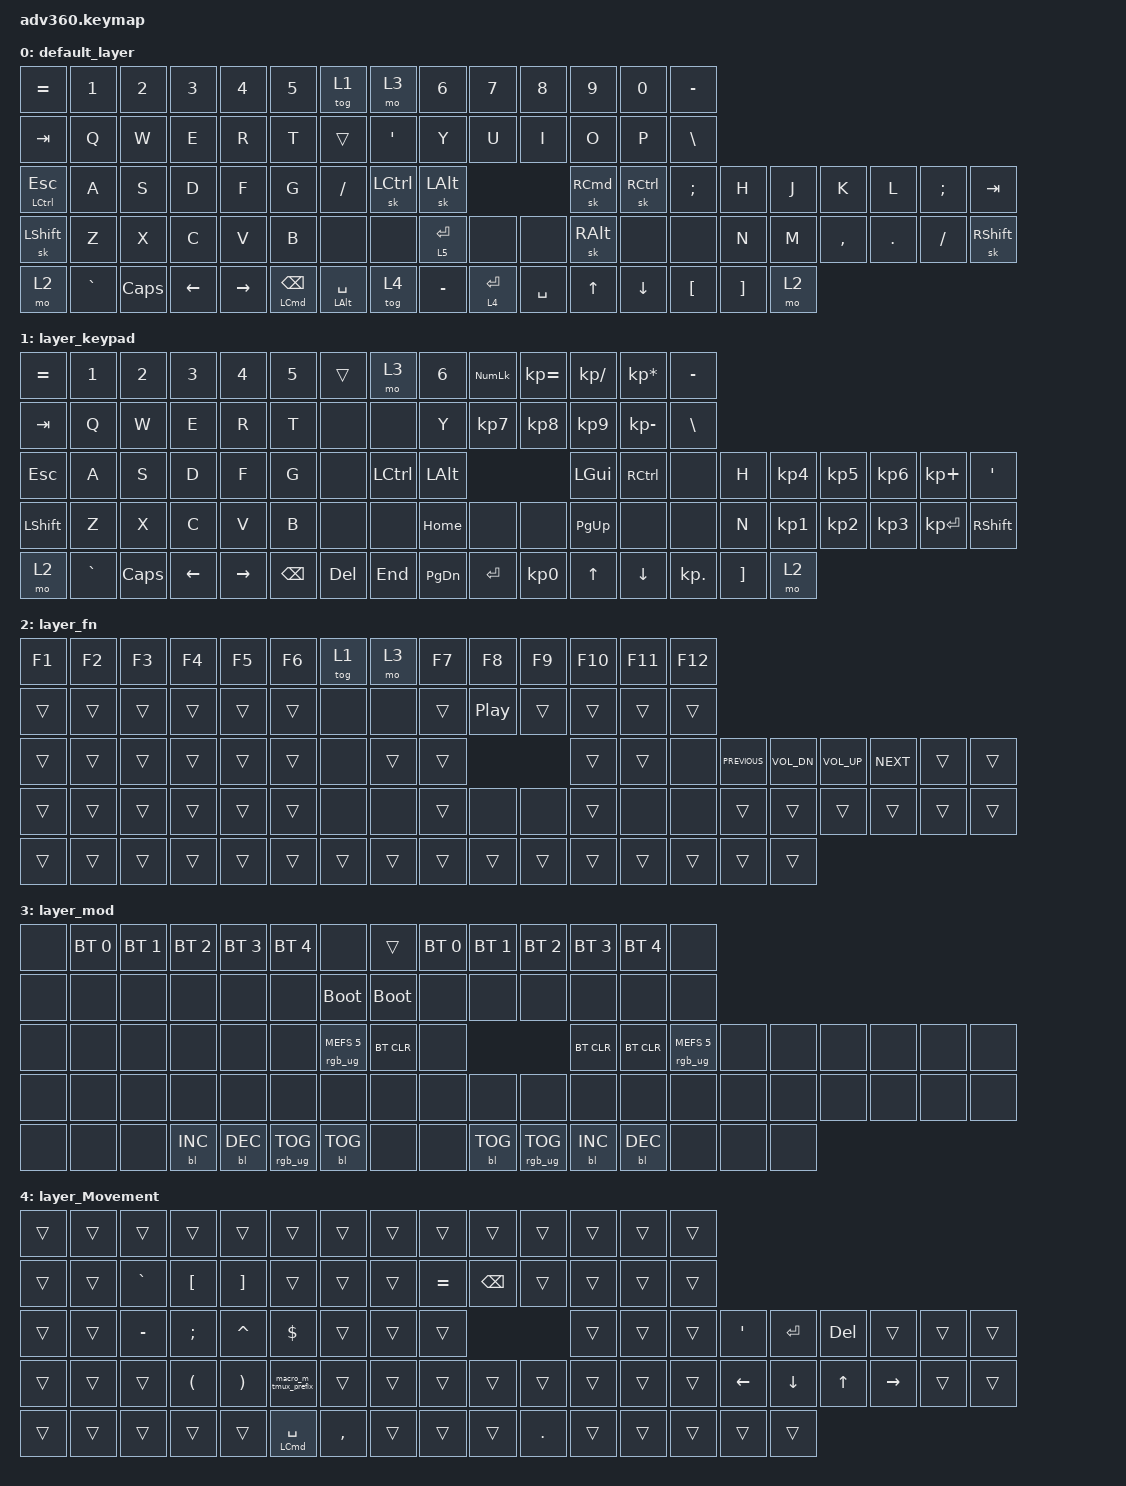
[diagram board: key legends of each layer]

/*
 * Copyright (c) 2020 The ZMK Contributors
 *
 * SPDX-License-Identifier: MIT
 */


/* THIS FILE WAS GENERATED!
 *
 * This file was generated automatically. You may or may not want to
 * edit it directly.
 */

#include <behaviors.dtsi>
#include <dt-bindings/zmk/keys.h>
#include <dt-bindings/zmk/bt.h>
#include <dt-bindings/zmk/rgb.h>
#include <dt-bindings/zmk/backlight.h>

/ {
  behaviors {
    #include "macros.dtsi"

    hm: homerow_mods {
        compatible = "zmk,behavior-hold-tap";
        label = "HOMEROW_MODS";
        #binding-cells = <2>;
        tapping-term-ms = <200>;
        quick_tap_ms = <175>;
        flavor = "tap-preferred";
        bindings = <&kp>, <&kp>;
    };
  };

    keymap {
        compatible = "zmk,keymap";


        default_layer {
            bindings = <
     &kp EQUAL     &kp N1    &kp N2    &kp N3     &kp N4              &kp N5                    &tog 1      &mo 3       &kp N6       &kp N7     &kp N8         &kp N9     &kp N0  &kp MINUS
       &kp TAB      &kp Q     &kp W     &kp E      &kp R               &kp T                    &trans    &kp SQT        &kp Y        &kp U      &kp I          &kp O      &kp P   &kp BSLH
 &mt LCTRL ESC      &kp A     &kp S     &kp D      &kp F               &kp G                  &kp FSLH  &sk LCTRL     &sk LALT                               &sk RCMD  &sk RCTRL   &kp SEMI     &kp H   &kp J      &kp K    &kp L  &kp SEMI     &kp TAB
    &sk LSHIFT      &kp Z     &kp X     &kp C      &kp V               &kp B                     &none      &none  &lt 5 ENTER        &none      &none  &sk RIGHT_ALT      &none      &none     &kp N   &kp M  &kp COMMA  &kp DOT  &kp FSLH  &sk RSHIFT
         &mo 2  &kp GRAVE  &kp CAPS  &kp LEFT  &kp RIGHT  &mt LCMD BACKSPACE            &mt LALT SPACE     &tog 4    &kp MINUS  &lt 4 ENTER  &kp SPACE         &kp UP   &kp DOWN   &kp LBKT  &kp RBKT   &mo 2
            >;
        };

        layer_keypad {
            bindings = <
 &kp EQUAL     &kp N1    &kp N2    &kp N3     &kp N4    &kp N5             &trans      &mo 3     &kp N6  &kp KP_NUM  &kp KP_EQUAL  &kp KP_DIVIDE  &kp KP_MULTIPLY   &kp MINUS
   &kp TAB      &kp Q     &kp W     &kp E      &kp R     &kp T              &none      &none      &kp Y   &kp KP_N7     &kp KP_N8      &kp KP_N9     &kp KP_MINUS    &kp BSLH
   &kp ESC      &kp A     &kp S     &kp D      &kp F     &kp G              &none  &kp LCTRL   &kp LALT                                 &kp LGUI        &kp RCTRL       &none     &kp H  &kp KP_N4  &kp KP_N5  &kp KP_N6   &kp KP_PLUS    &kp SQT
 &kp LSHFT      &kp Z     &kp X     &kp C      &kp V     &kp B              &none      &none   &kp HOME       &none         &none      &kp PG_UP            &none       &none     &kp N  &kp KP_N1  &kp KP_N2  &kp KP_N3  &kp KP_ENTER  &kp RSHFT
     &mo 2  &kp GRAVE  &kp CAPS  &kp LEFT  &kp RIGHT  &kp BSPC            &kp DEL    &kp END  &kp PG_DN   &kp ENTER     &kp KP_N0         &kp UP         &kp DOWN  &kp KP_DOT  &kp RBKT      &mo 2
            >;
        };

        layer_fn {
            bindings = <
 &kp F1  &kp F2  &kp F3  &kp F4  &kp F5  &kp F6            &tog 1   &mo 3  &kp F7            &kp F8  &kp F9  &kp F10  &kp F11  &kp F12
 &trans  &trans  &trans  &trans  &trans  &trans             &none   &none  &trans  &kp C_PLAY_PAUSE  &trans   &trans   &trans   &trans
 &trans  &trans  &trans  &trans  &trans  &trans             &none  &trans  &trans                             &trans   &trans    &none  &kp C_PREVIOUS  &kp C_VOL_DN  &kp C_VOL_UP  &kp C_NEXT  &trans  &trans
 &trans  &trans  &trans  &trans  &trans  &trans             &none   &none  &trans             &none   &none   &trans    &none    &none          &trans        &trans        &trans      &trans  &trans  &trans
 &trans  &trans  &trans  &trans  &trans  &trans            &trans  &trans  &trans            &trans  &trans   &trans   &trans   &trans          &trans        &trans
            >;
        };

        layer_mod {
            bindings = <
  &none  &bt BT_SEL 0  &bt BT_SEL 1  &bt BT_SEL 2  &bt BT_SEL 3     &bt BT_SEL 4                             &none       &trans  &bt BT_SEL 0  &bt BT_SEL 1     &bt BT_SEL 2  &bt BT_SEL 3  &bt BT_SEL 4                   &none
  &none         &none         &none         &none         &none            &none                       &bootloader  &bootloader         &none         &none            &none         &none         &none                   &none
  &none         &none         &none         &none         &none            &none            &rgb_ug RGB_MEFS_CMD 5   &bt BT_CLR         &none                                   &bt BT_CLR    &bt BT_CLR  &rgb_ug RGB_MEFS_CMD 5   &none   &none   &none   &none   &none   &none
  &none         &none         &none         &none         &none            &none                             &none        &none         &none         &none            &none         &none         &none                   &none   &none   &none   &none   &none   &none   &none
  &none         &none         &none    &bl BL_INC    &bl BL_DEC  &rgb_ug RGB_TOG                        &bl BL_TOG        &none         &none    &bl BL_TOG  &rgb_ug RGB_TOG    &bl BL_INC    &bl BL_DEC                   &none   &none   &none
            >;
        };

        layer_Movement {
            bindings = <
 &trans  &trans     &trans    &trans     &trans                &trans               &trans  &trans     &trans    &trans   &trans  &trans  &trans  &trans
 &trans  &trans  &kp GRAVE  &kp LBKT   &kp RBKT                &trans               &trans  &trans  &kp EQUAL  &kp BSPC   &trans  &trans  &trans  &trans
 &trans  &trans  &kp MINUS  &kp SEMI  &kp CARET            &kp DOLLAR               &trans  &trans     &trans                     &trans  &trans  &trans         &kp SQT  &kp ENTER  &kp DEL     &trans  &trans  &trans
 &trans  &trans     &trans  &kp LPAR   &kp RPAR  &macro_m_tmux_prefix               &trans  &trans     &trans    &trans   &trans  &trans  &trans  &trans  &kp LEFT_ARROW   &kp DOWN   &kp UP  &kp RIGHT  &trans  &trans
 &trans  &trans     &trans    &trans     &trans        &mt LCMD SPACE            &kp COMMA  &trans     &trans    &trans  &kp DOT  &trans  &trans  &trans          &trans     &trans
            >;
        };

    };
};
